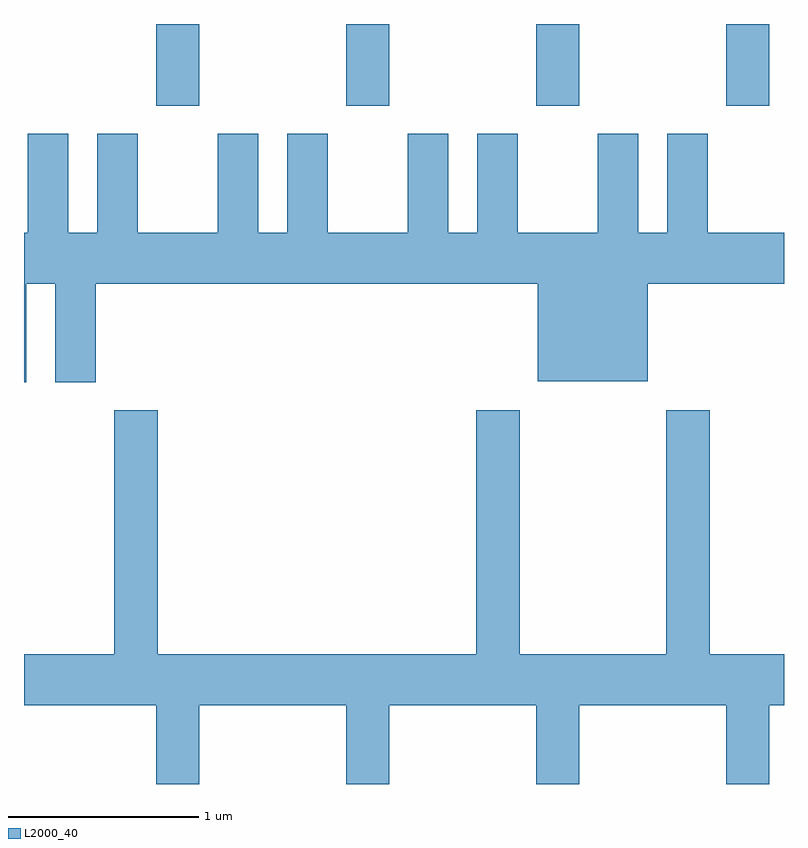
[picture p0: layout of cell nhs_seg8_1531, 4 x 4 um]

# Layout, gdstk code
import gdstk
lib = gdstk.Library(unit=1e-6, precision=1e-09)
def R(c, l, rs):  # rectangles x0, y0, x1, y1
    for r in rs: c.add(gdstk.rectangle(r[:2], r[2:], *l))
def A(c, l, x, y, w, h, nx, ny, dx, dy):  # array of equal rectangles
    R(c, l, [(x+i*dx, y+j*dy, x+i*dx+w, y+j*dy+h) for i in range(nx) for j in range(ny)])
def P(c, l, *ps):  # polygons
    for p in ps: c.add(gdstk.Polygon(p, *l))
L2000_40 = (2000, 40)

nhs_seg8_1531 = lib.new_cell('nhs_seg8_1531')
A(nhs_seg8_1531, L2000_40, 230.306, 1943.911, 0.228, 0.431, 4, 1, 1, 0)
P(nhs_seg8_1531, L2000_40, [(229.624,1942.976),(229.776,1942.976),(229.776,1942.456),(229.989,1942.456),(229.989,1942.976),(232.316,1942.976),(232.316,1942.461),(232.894,1942.461),(232.894,1942.976),(233.611,1942.976),(233.611,1943.244),(233.209,1943.244),(233.209,1943.764),(232.996,1943.764),(232.996,1943.244),(232.844,1943.244),(232.844,1943.764),(232.631,1943.764),(232.631,1943.244),(232.209,1943.244),(232.209,1943.764),(231.996,1943.764),(231.996,1943.244),(231.844,1943.244),(231.844,1943.764),(231.631,1943.764),(231.631,1943.244),(231.209,1943.244),(231.209,1943.764),(230.996,1943.764),(230.996,1943.244),(230.844,1943.244),(230.844,1943.764),(230.631,1943.764),(230.631,1943.244),(230.209,1943.244),(230.209,1943.764),(229.996,1943.764),(229.996,1943.244),(229.844,1943.244),(229.844,1943.764),(229.631,1943.764),(229.631,1943.244),(229.611,1943.244),(229.611,1942.456),(229.624,1942.456)],
  [(233.306,1940.342),(233.534,1940.342),(233.534,1940.756),(233.611,1940.756),(233.611,1941.024),(233.219,1941.024),(233.219,1942.309),(232.991,1942.309),(232.991,1941.024),(232.219,1941.024),(232.219,1942.309),(231.991,1942.309),(231.991,1941.024),(230.314,1941.024),(230.314,1942.309),(230.086,1942.309),(230.086,1941.024),(229.611,1941.024),(229.611,1940.756),(230.306,1940.756),(230.306,1940.342),(230.534,1940.342),(230.534,1940.756),(231.306,1940.756),(231.306,1940.342),(231.534,1940.342),(231.534,1940.756),(232.306,1940.756),(232.306,1940.342),(232.534,1940.342),(232.534,1940.756),(233.306,1940.756)])

lib.write_gds('nhs_seg8_1531.gds')
